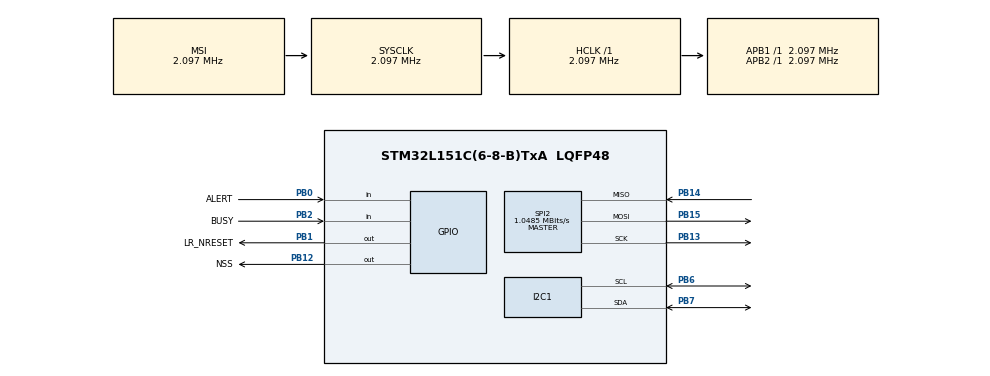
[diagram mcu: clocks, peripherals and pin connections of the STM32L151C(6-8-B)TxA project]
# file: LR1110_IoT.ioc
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Mcu.Family=STM32L1
Mcu.Name=STM32L151C(6-8-B)TxA
Mcu.Package=LQFP48
NVIC.PriorityGroup=NVIC_PRIORITYGROUP_4
PB0.GPIO_Label=ALERT
PB0.Signal=GPIO_Input
PB1.GPIO_Label=LR_NRESET
PB1.Signal=GPIO_Output
PB12.GPIO_Label=NSS
PB12.Signal=GPIO_Output
PB13.Mode=Full_Duplex_Master
PB13.Signal=SPI2_SCK
PB14.Mode=Full_Duplex_Master
PB14.Signal=SPI2_MISO
PB15.Mode=Full_Duplex_Master
PB15.Signal=SPI2_MOSI
PB2.GPIO_Label=BUSY
PB2.Signal=GPIO_Input
PB6.Mode=I2C
PB6.Signal=I2C1_SCL
PB7.Mode=I2C
PB7.Signal=I2C1_SDA
ProjectManager.HeapSize=0x200
ProjectManager.StackSize=0x400
ProjectManager.TargetToolchain=MDK-ARM V5.32
RCC.AHBFreq_Value=2097000
RCC.APB1Freq_Value=2097000
RCC.APB2Freq_Value=2097000
RCC.HSE_VALUE=24000000
RCC.HSI_VALUE=16000000
RCC.LSE_VALUE=32768
RCC.MSI_VALUE=2097000
RCC.SYSCLKFreq_VALUE=2097000
RCC.VCOOutputFreq_Value=48000000
SPI2.CalculateBaudRate=1.0485 MBits/s
SPI2.Direction=SPI_DIRECTION_2LINES
SPI2.Mode=SPI_MODE_MASTER
SPI2.VirtualType=VM_MASTER
board=custom

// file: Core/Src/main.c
/* USER CODE BEGIN Header */
/**
  ******************************************************************************
  * @file           : main.c
  * @brief          : Main program body
  ******************************************************************************
  * @attention
  *
  * Copyright (c) 2024 STMicroelectronics.
  * All rights reserved.
  *
  * This software is licensed under terms that can be found in the LICENSE file
  * in the root directory of this software component.
  * If no LICENSE file comes with this software, it is provided AS-IS.
  *
  ******************************************************************************
  */
/* USER CODE END Header */
#include "main.h"

/* USER CODE BEGIN Includes */
#include "lr11xx_hal.h"
#include "lr11xx_radio.h"
#include "lr11xx_system.h"
/* USER CODE END Includes */

/* USER CODE BEGIN PD */
#define TMP117_ADDRESS 0x48 << 1 // I2C address of TMP117 sensor
/* USER CODE END PD */

I2C_HandleTypeDef hi2c1;

SPI_HandleTypeDef hspi2;

/* USER CODE BEGIN PV */
float threshold_temperature = 30.0;		//Threshold temperature in Celsius
float emergency_threshold_temperature = 40.0;  // Emergency threshold in Celsius
uint32_t normal_delay = 6000000;				//60 mimutes
uint32_t fast_delay = 3000000; 					//30 minute
uint32_t emergency_delay = 1000000;			// 10 minute for emergency
/* USER CODE END PV */

void SystemClock_Config(void);
static void MX_GPIO_Init(void);
static void MX_I2C1_Init(void);
static void MX_SPI2_Init(void);
/* USER CODE BEGIN PFP */
float read_temperature(void);
void send_temperature_lorawan(const lr11xx_hal_context_t* context);
void check_temperature_threshold(const lr11xx_hal_context_t* context);
/* USER CODE END PFP */

/* USER CODE BEGIN 0 */

float read_temperature(void)
{
	uint8_t temp_data[2];
	int16_t temp;

	// Read two bytes from the temperature register (0x00)
	HAL_I2C_Mem_Read(&hi2c1, TMP117_ADDRESS, 0x00, I2C_MEMADD_SIZE_8BIT, temp_data, 2, HAL_MAX_DELAY);

	// Combine the two bytes into a 16-bit signed integer
	temp = (int16_t)((temp_data[0] << 8) | temp_data[1]);

	float mock_temperature = 25.5;

	// Convert the value to Celsius (TMP117 has a resolution of 0.0078125°C)
	return temp * 0.0078125f;
}

void send_temperature_lorawan(const lr11xx_hal_context_t* context)
{
    float temperature = read_temperature();  // Read temperature from TMP117
    int16_t temp_int = (int16_t)(temperature * 100);  // Convert to integer representation (Celsius * 100)

    // Prepare the payload (2 bytes for temperature)
    uint8_t payload[2];
    payload[0] = (temp_int >> 8) & 0xFF;  // High byte
    payload[1] = temp_int & 0xFF;         // Low byte

    // Send the temperature over LoRaWAN
    uint8_t command[] = { 0x80 };  // Example command to trigger LoRaWAN TX (depends on your protocol)
    lr11xx_hal_write(context, command, sizeof(command), payload, sizeof(payload));
}

// Function to check temperature threshold and adjust sending frequency
void check_temperature_threshold(const lr11xx_hal_context_t* context)
{
    float current_temperature = read_temperature();

    // If the temperature is over the emergency threshold, send data immediately
    if (current_temperature > emergency_threshold_temperature)
    {
        // Send data and use the emergency delay for very frequent sending
        send_temperature_lorawan(context);
        HAL_Delay(emergency_delay);  // Emergency delay (e.g., every 10 minute)
    }
    // If the temperature is over the normal threshold but not in emergency range
    else if (current_temperature > threshold_temperature)
    {
        // Send data and reduce the delay for faster sending
        send_temperature_lorawan(context);
        HAL_Delay(fast_delay);  // Fast delay (e.g., every 30 minute)
    }
    else
    {
        // Send data at normal frequency
        send_temperature_lorawan(context);
        HAL_Delay(normal_delay);  // Normal delay (e.g., every 60 minutes)
    }
}

/* USER CODE END 0 */

int main(void)
{

  /* MCU Configuration--------------------------------------------------------*/

  /* Reset of all peripherals, Initializes the Flash interface and the Systick. */
  HAL_Init();

  /* Configure the system clock */
  SystemClock_Config();

  /* Initialize all configured peripherals */
  MX_GPIO_Init();
  MX_I2C1_Init();
  MX_SPI2_Init();
  /* USER CODE BEGIN 2 */
	lr11xx_hal_context_t lr11xx_context = {
		.hspi = &hspi2,
		.nss_port = GPIOB,
		.nss_pin = GPIO_PIN_12,
		.alert_port = GPIOB,
		.alert_pin = GPIO_PIN_0,
		.reset_port = GPIOB,
		.reset_pin = GPIO_PIN_1,
		.busy_port = GPIOB,
		.busy_pin = GPIO_PIN_2
	};

	lr11xx_hal_reset(&lr11xx_context);
	lr11xx_hal_wakeup(&lr11xx_context);
  /* USER CODE END 2 */

  /* Infinite loop */
  /* USER CODE BEGIN WHILE */
  while (1)
  {
		check_temperature_threshold(&lr11xx_context);

    /* USER CODE END WHILE */

  }
}

void SystemClock_Config(void)
{
  RCC_OscInitTypeDef RCC_OscInitStruct = {0};
  RCC_ClkInitTypeDef RCC_ClkInitStruct = {0};

  /** Configure the main internal regulator output voltage
  */
  __HAL_PWR_VOLTAGESCALING_CONFIG(PWR_REGULATOR_VOLTAGE_SCALE1);

  /** Initializes the RCC Oscillators according to the specified parameters
  * in the RCC_OscInitTypeDef structure.
  */
  RCC_OscInitStruct.OscillatorType = RCC_OSCILLATORTYPE_MSI;
  RCC_OscInitStruct.MSIState = RCC_MSI_ON;
  RCC_OscInitStruct.MSICalibrationValue = 0;
  RCC_OscInitStruct.MSIClockRange = RCC_MSIRANGE_5;
  RCC_OscInitStruct.PLL.PLLState = RCC_PLL_NONE;
  if (HAL_RCC_OscConfig(&RCC_OscInitStruct) != HAL_OK)
  {
    Error_Handler();
  }

  /** Initializes the CPU, AHB and APB buses clocks
  */
  RCC_ClkInitStruct.ClockType = RCC_CLOCKTYPE_HCLK|RCC_CLOCKTYPE_SYSCLK
                              |RCC_CLOCKTYPE_PCLK1|RCC_CLOCKTYPE_PCLK2;
  RCC_ClkInitStruct.SYSCLKSource = RCC_SYSCLKSOURCE_MSI;
  RCC_ClkInitStruct.AHBCLKDivider = RCC_SYSCLK_DIV1;
  RCC_ClkInitStruct.APB1CLKDivider = RCC_HCLK_DIV1;
  RCC_ClkInitStruct.APB2CLKDivider = RCC_HCLK_DIV1;

  if (HAL_RCC_ClockConfig(&RCC_ClkInitStruct, FLASH_LATENCY_0) != HAL_OK)
  {
    Error_Handler();
  }
}

static void MX_I2C1_Init(void)
{

  hi2c1.Instance = I2C1;
  hi2c1.Init.ClockSpeed = 100000;
  hi2c1.Init.DutyCycle = I2C_DUTYCYCLE_2;
  hi2c1.Init.OwnAddress1 = 0;
  hi2c1.Init.AddressingMode = I2C_ADDRESSINGMODE_7BIT;
  hi2c1.Init.DualAddressMode = I2C_DUALADDRESS_DISABLE;
  hi2c1.Init.OwnAddress2 = 0;
  hi2c1.Init.GeneralCallMode = I2C_GENERALCALL_DISABLE;
  hi2c1.Init.NoStretchMode = I2C_NOSTRETCH_DISABLE;
  if (HAL_I2C_Init(&hi2c1) != HAL_OK)
  {
    Error_Handler();
  }

}

static void MX_SPI2_Init(void)
{

  /* SPI2 parameter configuration*/
  hspi2.Instance = SPI2;
  hspi2.Init.Mode = SPI_MODE_MASTER;
  hspi2.Init.Direction = SPI_DIRECTION_2LINES;
  hspi2.Init.DataSize = SPI_DATASIZE_8BIT;
  hspi2.Init.CLKPolarity = SPI_POLARITY_LOW;
  hspi2.Init.CLKPhase = SPI_PHASE_1EDGE;
  hspi2.Init.NSS = SPI_NSS_SOFT;
  hspi2.Init.BaudRatePrescaler = SPI_BAUDRATEPRESCALER_2;
  hspi2.Init.FirstBit = SPI_FIRSTBIT_MSB;
  hspi2.Init.TIMode = SPI_TIMODE_DISABLE;
  hspi2.Init.CRCCalculation = SPI_CRCCALCULATION_DISABLE;
  hspi2.Init.CRCPolynomial = 10;
  if (HAL_SPI_Init(&hspi2) != HAL_OK)
  {
    Error_Handler();
  }

}

static void MX_GPIO_Init(void)
{
  GPIO_InitTypeDef GPIO_InitStruct = {0};

  /* GPIO Ports Clock Enable */
  __HAL_RCC_GPIOB_CLK_ENABLE();

  /*Configure GPIO pin Output Level */
  HAL_GPIO_WritePin(GPIOB, LR_NRESET_Pin|NSS_Pin, GPIO_PIN_RESET);

  /*Configure GPIO pins : ALERT_Pin BUSY_Pin */
  GPIO_InitStruct.Pin = ALERT_Pin|BUSY_Pin;
  GPIO_InitStruct.Mode = GPIO_MODE_INPUT;
  GPIO_InitStruct.Pull = GPIO_NOPULL;
  HAL_GPIO_Init(GPIOB, &GPIO_InitStruct);

  /*Configure GPIO pins : LR_NRESET_Pin NSS_Pin */
  GPIO_InitStruct.Pin = LR_NRESET_Pin|NSS_Pin;
  GPIO_InitStruct.Mode = GPIO_MODE_OUTPUT_PP;
  GPIO_InitStruct.Pull = GPIO_NOPULL;
  GPIO_InitStruct.Speed = GPIO_SPEED_FREQ_LOW;
  HAL_GPIO_Init(GPIOB, &GPIO_InitStruct);

}

void Error_Handler(void)
{
  __disable_irq();
  while (1)
  {
  }
}
